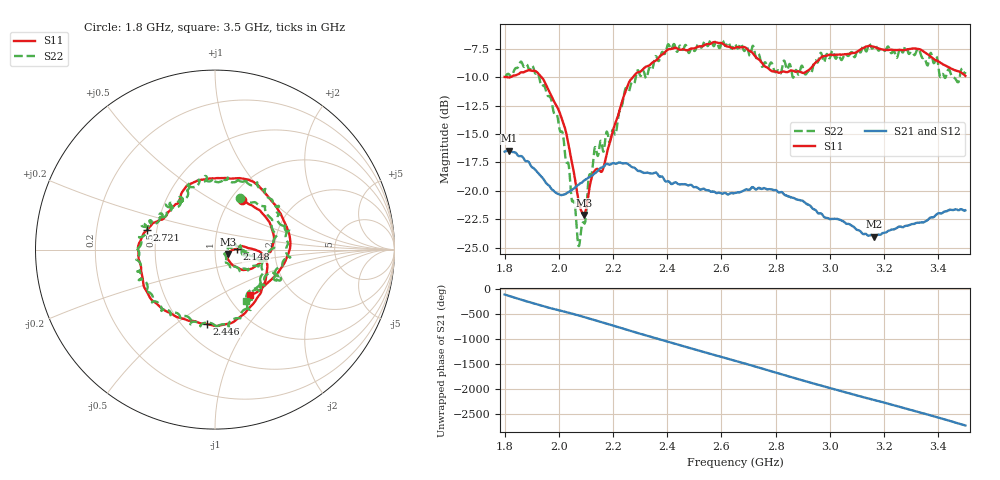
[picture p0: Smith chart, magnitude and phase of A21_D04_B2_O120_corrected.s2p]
! Created with skrf 1.9.0 (http://scikit-rf.org).
# Hz S RI R 50.0
!freq ReS11 ImS11 ReS21 ImS21 ReS12 ImS12 ReS22 ImS22
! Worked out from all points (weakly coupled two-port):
!   1601 points, 1.8 GHz to 3.5 GHz, reference 50 ohm
!   highest |S21| = -16.46 dB at 1.817 GHz (marker M1); lowest = -24.0 dB at 3.164 GHz (marker M2)
!   lowest |S11| = -22.1 dB at 2.092 GHz (marker M3), VSWR 1.17, Z = 58 - j2.9 ohm
!   |S11| at or under -10 dB: 1.807 GHz to 1.823 GHz (15.82 MHz wide, 0.872 % of centre); 1.936 GHz to 2.274 GHz (337.7 MHz wide, 16 % of centre)
!   |S22| runs from -24.9 to -6.8 dB; largest |S21 - S12| = 0.0024
!   S11 on the Smith chart (normalised r, x): 1.8 GHz: 1.13, +0.70; 2.148 GHz: 1.28, +0.01; 2.446 GHz: 0.66, -0.66; 2.721 GHz: 0.44, +0.11; 3.5 GHz: 1.27, -0.71
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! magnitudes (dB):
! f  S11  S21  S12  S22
! 1.8 GHz  -10.0  -16.5  -16.5  -9.9
! 1.817 GHz  -10.0  -16.5  -16.5  -9.8
! 1.902 GHz  -9.5  -17.9  -17.9  -9.0
! 1.968 GHz  -11.4  -19.7  -19.7  -11.7
! 2.023 GHz  -14.5  -20.3  -20.3  -16.9
! 2.071 GHz  -20.6  -19.5  -19.5  -24.7
! 2.084 GHz  -21.8  -19.3  -19.2  -23.2
! 2.092 GHz  -22.1  -19.1  -19.2  -22.8
! 2.129 GHz  -18.3  -18.5  -18.5  -16.7
! 2.148 GHz  -18.2  -18.1  -18.1  -16.4
! 2.209 GHz  -14.0  -17.6  -17.6  -15.1
! 2.26 GHz  -10.4  -17.7  -17.7  -11.2
! 2.367 GHz  -8.3  -18.6  -18.6  -8.6
! 2.446 GHz  -7.6  -19.4  -19.4  -7.2
! 2.65 GHz  -7.4  -20.2  -20.2  -7.1
! 2.721 GHz  -8.1  -19.8  -19.7  -7.6
! 2.802 GHz  -9.5  -19.9  -20.0  -9.5
! 2.934 GHz  -9.1  -21.5  -21.5  -9.5
! 3.164 GHz  -7.3  -24.0  -24.0  -7.2
! 3.217 GHz  -7.6  -23.5  -23.5  -7.4
! 3.468 GHz  -9.5  -21.6  -21.6  -10.3
! 3.5 GHz  -9.9  -21.7  -21.7  -9.6
